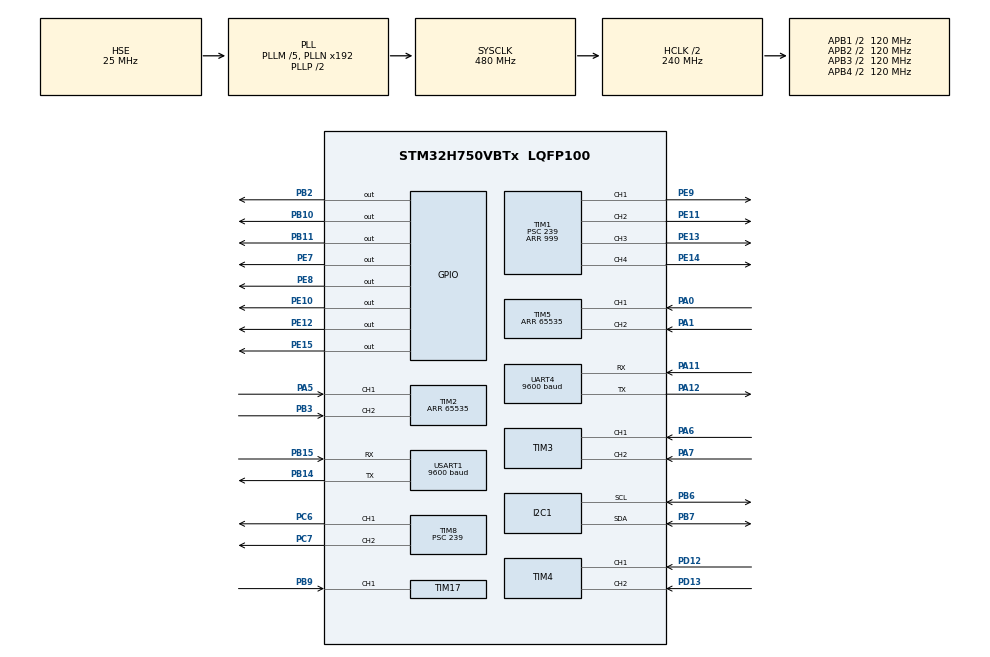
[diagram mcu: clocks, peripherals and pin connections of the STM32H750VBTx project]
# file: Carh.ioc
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CORTEX_M7.default_mode_Activation=1
FREERTOS.Tasks01=defaultTask,0,256,StartDefaultTask,Default,NULL,Dynamic,NULL,NULL;Motor,3,512,MotorFunc,Default,NULL,Dynamic,NULL,NULL;MainTask,2,512,MainFunc,Default,NULL,Dynamic,NULL,NULL
I2C1.Timing=0x307075B1
Mcu.Family=STM32H7
Mcu.Name=STM32H750VBTx
Mcu.Package=LQFP100
NVIC.PriorityGroup=NVIC_PRIORITYGROUP_4
NVIC.TIM17_IRQn=true\:6\:0\:true\:false\:true\:true\:true\:true\:true
NVIC.TIM7_IRQn=true\:15\:0\:false\:false\:true\:false\:false\:true\:true
NVIC.TimeBase=TIM7_IRQn
NVIC.TimeBaseIP=TIM7
NVIC.UART4_IRQn=true\:5\:0\:false\:false\:true\:true\:true\:true\:true
NVIC.USART1_IRQn=true\:5\:0\:false\:false\:true\:true\:true\:true\:true
PA0.Signal=S_TIM5_CH1
PA1.Signal=S_TIM5_CH2
PA11.Mode=Asynchronous
PA11.Signal=UART4_RX
PA12.Mode=Asynchronous
PA12.Signal=UART4_TX
PA5.Signal=S_TIM2_CH1_ETR
PA6.Signal=S_TIM3_CH1
PA7.Signal=S_TIM3_CH2
PB10.Signal=GPIO_Output
PB11.Signal=GPIO_Output
PB14.Mode=Asynchronous
PB14.Signal=USART1_TX
PB15.Mode=Asynchronous
PB15.Signal=USART1_RX
PB2.Signal=GPIO_Output
PB3\ (JTDO/TRACESWO).Signal=S_TIM2_CH2
PB6.Mode=I2C
PB6.Signal=I2C1_SCL
PB7.Mode=I2C
PB7.Signal=I2C1_SDA
PB9.Signal=S_TIM17_CH1
PC14-OSC32_IN\ (OSC32_IN).Mode=LSE-External-Oscillator
PC14-OSC32_IN\ (OSC32_IN).Signal=RCC_OSC32_IN
PC15-OSC32_OUT\ (OSC32_OUT).Mode=LSE-External-Oscillator
PC15-OSC32_OUT\ (OSC32_OUT).Signal=RCC_OSC32_OUT
PC6.Signal=S_TIM8_CH1
PC7.Signal=S_TIM8_CH2
PD12.Signal=S_TIM4_CH1
PD13.Signal=S_TIM4_CH2
PE10.Signal=GPIO_Output
PE11.Signal=S_TIM1_CH2
PE12.Signal=GPIO_Output
PE13.Signal=S_TIM1_CH3
PE14.Signal=S_TIM1_CH4
PE15.Signal=GPIO_Output
PE7.Signal=GPIO_Output
PE8.Signal=GPIO_Output
PE9.Signal=S_TIM1_CH1
PH0-OSC_IN\ (PH0).Mode=HSE-External-Oscillator
PH0-OSC_IN\ (PH0).Signal=RCC_OSC_IN
PH1-OSC_OUT\ (PH1).Mode=HSE-External-Oscillator
PH1-OSC_OUT\ (PH1).Signal=RCC_OSC_OUT
ProjectManager.HeapSize=0x200
ProjectManager.StackSize=0x400
ProjectManager.TargetToolchain=MDK-ARM V5.32
RCC.ADCFreq_Value=50390625
RCC.APB1Freq_Value=120000000
RCC.APB2Freq_Value=120000000
RCC.APB3Freq_Value=120000000
RCC.APB4Freq_Value=120000000
RCC.CortexFreq_Value=480000000
RCC.D1PPRE=RCC_APB3_DIV2
RCC.D2PPRE1=RCC_APB1_DIV2
RCC.D2PPRE2=RCC_APB2_DIV2
RCC.D3PPRE=RCC_APB4_DIV2
RCC.DIVM1=5
RCC.DIVN1=192
RCC.HCLKFreq_Value=240000000
RCC.HPRE=RCC_HCLK_DIV2
RCC.PLL2FRACN=0
RCC.PLL3FRACN=0
RCC.PLLFRACN=0
RCC.PLLSourceVirtual=RCC_PLLSOURCE_HSE
RCC.SYSCLKFreq_VALUE=480000000
RCC.SYSCLKSource=RCC_SYSCLKSOURCE_PLLCLK
RCC.USBFreq_Value=480000000
SH.S_TIM17_CH1.0=TIM17_CH1,Input_Capture1_from_TI1
SH.S_TIM1_CH1.0=TIM1_CH1,PWM Generation1 CH1
SH.S_TIM1_CH2.0=TIM1_CH2,PWM Generation2 CH2
SH.S_TIM1_CH3.0=TIM1_CH3,PWM Generation3 CH3
SH.S_TIM1_CH4.0=TIM1_CH4,PWM Generation4 CH4
SH.S_TIM2_CH1_ETR.0=TIM2_CH1,Encoder_Interface
SH.S_TIM2_CH2.0=TIM2_CH2,Encoder_Interface
SH.S_TIM3_CH1.0=TIM3_CH1,Encoder_Interface
SH.S_TIM3_CH2.0=TIM3_CH2,Encoder_Interface
SH.S_TIM4_CH1.0=TIM4_CH1,Encoder_Interface
SH.S_TIM4_CH2.0=TIM4_CH2,Encoder_Interface
SH.S_TIM5_CH1.0=TIM5_CH1,Encoder_Interface
SH.S_TIM5_CH2.0=TIM5_CH2,Encoder_Interface
SH.S_TIM8_CH1.0=TIM8_CH1,PWM Generation1 CH1
SH.S_TIM8_CH2.0=TIM8_CH2,PWM Generation2 CH2
TIM1.Channel-PWM\ Generation1\ CH1=TIM_CHANNEL_1
TIM1.Channel-PWM\ Generation2\ CH2=TIM_CHANNEL_2
TIM1.Channel-PWM\ Generation3\ CH3=TIM_CHANNEL_3
TIM1.Channel-PWM\ Generation4\ CH4=TIM_CHANNEL_4
TIM1.Period=999
TIM1.Prescaler=239
TIM17.Channel=TIM_CHANNEL_1
TIM17.ICPolarity_CH1=TIM_INPUTCHANNELPOLARITY_BOTHEDGE
TIM17.Period=9999
TIM17.Prescaler=239
TIM2.EncoderMode=TIM_ENCODERMODE_TI12
TIM2.Period=65535
TIM3.EncoderMode=TIM_ENCODERMODE_TI12
TIM4.EncoderMode=TIM_ENCODERMODE_TI12
TIM5.EncoderMode=TIM_ENCODERMODE_TI12
TIM5.Period=65535
TIM8.Channel-PWM\ Generation1\ CH1=TIM_CHANNEL_1
TIM8.Channel-PWM\ Generation2\ CH2=TIM_CHANNEL_2
TIM8.Period=999
TIM8.Prescaler=239
UART4.BaudRate=9600
USART1.BaudRate=9600
USART1.VirtualMode-Asynchronous=VM_ASYNC
VP_FREERTOS_VS_CMSIS_V1.Mode=CMSIS_V1
VP_MEMORYMAP_VS_MEMORYMAP.Mode=CurAppReg
VP_SYS_VS_tim7.Mode=TIM7
VP_TIM17_VS_ClockSourceINT.Mode=Enable_Timer
board=custom

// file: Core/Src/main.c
/* USER CODE BEGIN Header */
/**
  ******************************************************************************
  * @file           : main.c
  * @brief          : Main program body
  ******************************************************************************
  * @attention
  *
  * Copyright (c) 2025 STMicroelectronics.
  * All rights reserved.
  *
  * This software is licensed under terms that can be found in the LICENSE file
  * in the root directory of this software component.
  * If no LICENSE file comes with this software, it is provided AS-IS.
  *
  ******************************************************************************
  */
/* USER CODE END Header */
#include "main.h"
#include "cmsis_os.h"
#include "i2c.h"
#include "memorymap.h"
#include "tim.h"
#include "usart.h"
#include "gpio.h"

void SystemClock_Config(void);
static void MPU_Config(void);
void MX_FREERTOS_Init(void);

int main(void)
{

  /* MPU Configuration--------------------------------------------------------*/
  MPU_Config();

  /* MCU Configuration--------------------------------------------------------*/

  /* Reset of all peripherals, Initializes the Flash interface and the Systick. */
  HAL_Init();

  /* Configure the system clock */
  SystemClock_Config();

  /* Initialize all configured peripherals */
  MX_GPIO_Init();
  MX_USART1_UART_Init();
  MX_TIM1_Init();
  MX_TIM2_Init();
  MX_TIM3_Init();
  MX_TIM4_Init();
  MX_TIM5_Init();
  MX_TIM8_Init();
  MX_I2C1_Init();
  MX_TIM17_Init();
  MX_UART4_Init();

  /* Call init function for freertos objects (in cmsis_os2.c) */
  MX_FREERTOS_Init();

  /* Start scheduler */
  osKernelStart();

  /* We should never get here as control is now taken by the scheduler */

  /* Infinite loop */
  while (1)
  {

  }
}

void SystemClock_Config(void)
{
  RCC_OscInitTypeDef RCC_OscInitStruct = {0};
  RCC_ClkInitTypeDef RCC_ClkInitStruct = {0};

  /** Supply configuration update enable
  */
  HAL_PWREx_ConfigSupply(PWR_LDO_SUPPLY);

  /** Configure the main internal regulator output voltage
  */
  __HAL_PWR_VOLTAGESCALING_CONFIG(PWR_REGULATOR_VOLTAGE_SCALE1);

  while(!__HAL_PWR_GET_FLAG(PWR_FLAG_VOSRDY)) {}

  __HAL_RCC_SYSCFG_CLK_ENABLE();
  __HAL_PWR_VOLTAGESCALING_CONFIG(PWR_REGULATOR_VOLTAGE_SCALE0);

  while(!__HAL_PWR_GET_FLAG(PWR_FLAG_VOSRDY)) {}

  /** Initializes the RCC Oscillators according to the specified parameters
  * in the RCC_OscInitTypeDef structure.
  */
  RCC_OscInitStruct.OscillatorType = RCC_OSCILLATORTYPE_HSE;
  RCC_OscInitStruct.HSEState = RCC_HSE_ON;
  RCC_OscInitStruct.PLL.PLLState = RCC_PLL_ON;
  RCC_OscInitStruct.PLL.PLLSource = RCC_PLLSOURCE_HSE;
  RCC_OscInitStruct.PLL.PLLM = 5;
  RCC_OscInitStruct.PLL.PLLN = 192;
  RCC_OscInitStruct.PLL.PLLP = 2;
  RCC_OscInitStruct.PLL.PLLQ = 2;
  RCC_OscInitStruct.PLL.PLLR = 2;
  RCC_OscInitStruct.PLL.PLLRGE = RCC_PLL1VCIRANGE_2;
  RCC_OscInitStruct.PLL.PLLVCOSEL = RCC_PLL1VCOWIDE;
  RCC_OscInitStruct.PLL.PLLFRACN = 0;
  if (HAL_RCC_OscConfig(&RCC_OscInitStruct) != HAL_OK)
  {
    Error_Handler();
  }

  /** Initializes the CPU, AHB and APB buses clocks
  */
  RCC_ClkInitStruct.ClockType = RCC_CLOCKTYPE_HCLK|RCC_CLOCKTYPE_SYSCLK
                              |RCC_CLOCKTYPE_PCLK1|RCC_CLOCKTYPE_PCLK2
                              |RCC_CLOCKTYPE_D3PCLK1|RCC_CLOCKTYPE_D1PCLK1;
  RCC_ClkInitStruct.SYSCLKSource = RCC_SYSCLKSOURCE_PLLCLK;
  RCC_ClkInitStruct.SYSCLKDivider = RCC_SYSCLK_DIV1;
  RCC_ClkInitStruct.AHBCLKDivider = RCC_HCLK_DIV2;
  RCC_ClkInitStruct.APB3CLKDivider = RCC_APB3_DIV2;
  RCC_ClkInitStruct.APB1CLKDivider = RCC_APB1_DIV2;
  RCC_ClkInitStruct.APB2CLKDivider = RCC_APB2_DIV2;
  RCC_ClkInitStruct.APB4CLKDivider = RCC_APB4_DIV2;

  if (HAL_RCC_ClockConfig(&RCC_ClkInitStruct, FLASH_LATENCY_4) != HAL_OK)
  {
    Error_Handler();
  }
}

 /* MPU Configuration */

void MPU_Config(void)
{
  MPU_Region_InitTypeDef MPU_InitStruct = {0};

  /* Disables the MPU */
  HAL_MPU_Disable();

  /** Initializes and configures the Region and the memory to be protected
  */
  MPU_InitStruct.Enable = MPU_REGION_ENABLE;
  MPU_InitStruct.Number = MPU_REGION_NUMBER0;
  MPU_InitStruct.BaseAddress = 0x0;
  MPU_InitStruct.Size = MPU_REGION_SIZE_4GB;
  MPU_InitStruct.SubRegionDisable = 0x87;
  MPU_InitStruct.TypeExtField = MPU_TEX_LEVEL0;
  MPU_InitStruct.AccessPermission = MPU_REGION_NO_ACCESS;
  MPU_InitStruct.DisableExec = MPU_INSTRUCTION_ACCESS_DISABLE;
  MPU_InitStruct.IsShareable = MPU_ACCESS_SHAREABLE;
  MPU_InitStruct.IsCacheable = MPU_ACCESS_NOT_CACHEABLE;
  MPU_InitStruct.IsBufferable = MPU_ACCESS_NOT_BUFFERABLE;

  HAL_MPU_ConfigRegion(&MPU_InitStruct);
  /* Enables the MPU */
  HAL_MPU_Enable(MPU_PRIVILEGED_DEFAULT);

}

void HAL_TIM_PeriodElapsedCallback(TIM_HandleTypeDef *htim)
{
  if (htim->Instance == TIM7) {
    HAL_IncTick();
  }
}

void Error_Handler(void)
{
  __disable_irq();
  while (1)
  {
  }
}

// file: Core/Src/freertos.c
/* USER CODE BEGIN Header */
/**
  ******************************************************************************
  * File Name          : freertos.c
  * Description        : Code for freertos applications
  ******************************************************************************
  * @attention
  *
  * Copyright (c) 2025 STMicroelectronics.
  * All rights reserved.
  *
  * This software is licensed under terms that can be found in the LICENSE file
  * in the root directory of this software component.
  * If no LICENSE file comes with this software, it is provided AS-IS.
  *
  ******************************************************************************
  */
/* USER CODE END Header */

#include "FreeRTOS.h"
#include "task.h"
#include "main.h"
#include "cmsis_os.h"

/* USER CODE BEGIN Includes */
#include "tim.h"
#include "Macnuam.h"
#include "math.h"
#include "usart.h"
#include "oled.h"
#include <stdint.h>
#include <string.h>
/* USER CODE END Includes */

/* USER CODE BEGIN PTD */
typedef enum {
	Forward,
	Back,
	Right,
	Left,
	Rrotate,
	Lrotate,
	Stop,
}Status;

typedef enum {
	Fast,
	Normal,
	Low
}SpeedSet;
/* USER CODE END PTD */

/* USER CODE BEGIN PM */
extern UART_HandleTypeDef huart1;
extern UART_HandleTypeDef huart2;
extern DMA_HandleTypeDef hdma_usart1_rx;
/* USER CODE END PM */

/* USER CODE BEGIN Variables */
Speed myspeed;
int vx,vy,vz;

Motor RB;
Motor RF;
Motor LB;
Motor LF;

int timecount;
int starttime;

int8_t receivedata[8];

int times[27] = {         2000,   390,       200 ,    450 ,   600,    420,    120,    320,     120,    846,    6       , 100,   468,     500,    66,       200,     1080,    1000   ,280      ,700,      800 ,  900 ,  1000,   900  ,  1000,900  ,  10000};
Status states[27] = {     Stop,   Forward,   Stop,    Right,  Stop,   Right,  Stop,   Forward, Stop,   Left,   Rrotate ,Stop,  Forward, Stop,   Back,     Stop,     Right,  Stop   ,Forward  ,Rrotate,  Stop , Left,  Stop,   Left  , Stop,Left  , Stop} ;
SpeedSet speedsets[27] = {Normal, Normal,    Normal,  Normal, Normal, Normal, Normal, Fast,    Normal, Normal, Normal  ,Normal,Fast,    Normal, Normal,   Normal,   Normal, Normal ,Low      ,Normal,   Normal,Normal,Normal, Normal, Normal,Normal, Normal};

int phase = -1;
Status state = Stop;
SpeedSet speedset = Normal;

int distance;
uint32_t capture_rising, capture_falling;

/* USER CODE END Variables */
osThreadId defaultTaskHandle;
osThreadId MotorHandle;
osThreadId MainTaskHandle;

/* USER CODE BEGIN FunctionPrototypes */
float GetDistance(void);
/* USER CODE END FunctionPrototypes */

void StartDefaultTask(void const * argument);
void MotorFunc(void const * argument);
void MainFunc(void const * argument);

void MX_FREERTOS_Init(void); /* (MISRA C 2004 rule 8.1) */

/* GetIdleTaskMemory prototype (linked to static allocation support) */
void vApplicationGetIdleTaskMemory( StaticTask_t **ppxIdleTaskTCBBuffer, StackType_t **ppxIdleTaskStackBuffer, uint32_t *pulIdleTaskStackSize );

/* USER CODE BEGIN GET_IDLE_TASK_MEMORY */
static StaticTask_t xIdleTaskTCBBuffer;
static StackType_t xIdleStack[configMINIMAL_STACK_SIZE];

void vApplicationGetIdleTaskMemory( StaticTask_t **ppxIdleTaskTCBBuffer, StackType_t **ppxIdleTaskStackBuffer, uint32_t *pulIdleTaskStackSize )
{
  *ppxIdleTaskTCBBuffer = &xIdleTaskTCBBuffer;
  *ppxIdleTaskStackBuffer = &xIdleStack[0];
  *pulIdleTaskStackSize = configMINIMAL_STACK_SIZE;
  /* place for user code */
}
/* USER CODE END GET_IDLE_TASK_MEMORY */

void MX_FREERTOS_Init(void) {

  /* Create the thread(s) */
  /* definition and creation of defaultTask */
  osThreadDef(defaultTask, StartDefaultTask, osPriorityNormal, 0, 256);
  defaultTaskHandle = osThreadCreate(osThread(defaultTask), NULL);

  /* definition and creation of Motor */
  osThreadDef(Motor, MotorFunc, osPriorityRealtime, 0, 512);
  MotorHandle = osThreadCreate(osThread(Motor), NULL);

  /* definition and creation of MainTask */
  osThreadDef(MainTask, MainFunc, osPriorityHigh, 0, 512);
  MainTaskHandle = osThreadCreate(osThread(MainTask), NULL);

}

void StartDefaultTask(void const * argument)
{
  /* USER CODE BEGIN StartDefaultTask */
	HAL_TIM_IC_Start_IT(&htim17, TIM_CHANNEL_1);
  /* Infinite loop */
  for(;;)
  {
		osSignalWait(0x01, osWaitForever);
    uint32_t time_diff = (capture_falling - capture_rising + 10000) % 10000;
    distance = (float)time_diff * 0.034 / 2;
		OLED_ShowNum(80,2,distance,3,16);
		OLED_ShowNum(16,2,abs(myspeed.RB) * 50 * 2 * 3.14 * 0.03 / 30.0f / 52.0f, 3, 16);
		OLED_ShowNum(16,4,receivedata[0],3,16);
		OLED_ShowNum(80,4,receivedata[1],3,16);
    osDelay(20);
  }
  /* USER CODE END StartDefaultTask */
}

void MotorFunc(void const * argument)
{
  /* USER CODE BEGIN MotorFunc */
	HAL_TIM_Encoder_Start(&htim2,TIM_CHANNEL_1);
	HAL_TIM_Encoder_Start(&htim2,TIM_CHANNEL_2);
	HAL_TIM_Encoder_Start(&htim3,TIM_CHANNEL_1);
	HAL_TIM_Encoder_Start(&htim3,TIM_CHANNEL_2);
	HAL_TIM_Encoder_Start(&htim4,TIM_CHANNEL_1);
	HAL_TIM_Encoder_Start(&htim4,TIM_CHANNEL_2);
	HAL_TIM_Encoder_Start(&htim5,TIM_CHANNEL_1);
	HAL_TIM_Encoder_Start(&htim5,TIM_CHANNEL_2);

	RB.encoder = htim2;
	RF.encoder = htim3;
	LB.encoder = htim4;
	LF.encoder = htim5;

	RB.PWM = htim1;
	RF.PWM = htim1;
	LB.PWM = htim1;
	LF.PWM = htim1;

	RB.PWMchannel = TIM_CHANNEL_1;
	RF.PWMchannel = TIM_CHANNEL_2;
	LB.PWMchannel = TIM_CHANNEL_3;
	LF.PWMchannel = TIM_CHANNEL_4;

	RB.ENG1 = GPIOB;
	RB.ENP1 = GPIO_PIN_2;
	RB.ENG2 = GPIOE;
	RB.ENP2 = GPIO_PIN_7;

	RF.ENG1 = GPIOE;
	RF.ENP1 = GPIO_PIN_8;
	RF.ENG2 = GPIOE;
	RF.ENP2 = GPIO_PIN_10;

	LB.ENG1 = GPIOB;
	LB.ENP1 = GPIO_PIN_10;
	LB.ENG2 = GPIOB;
	LB.ENP2 = GPIO_PIN_11;

	LF.ENG1 = GPIOE;
	LF.ENP1 = GPIO_PIN_15;
	LF.ENG2 = GPIOE;
	LF.ENP2 = GPIO_PIN_12;

	HAL_TIM_PWM_Start(&htim1,TIM_CHANNEL_1);
	HAL_TIM_PWM_Start(&htim1,TIM_CHANNEL_2);
	HAL_TIM_PWM_Start(&htim1,TIM_CHANNEL_3);
	HAL_TIM_PWM_Start(&htim1,TIM_CHANNEL_4);

	HAL_TIM_PWM_Start(&htim8,TIM_CHANNEL_1);
	__HAL_TIM_SetCompare(&htim8,TIM_CHANNEL_1,0);
	HAL_TIM_PWM_Start(&htim8,TIM_CHANNEL_2);
	__HAL_TIM_SetCompare(&htim8,TIM_CHANNEL_2,50);

		HAL_UART_Receive_IT(&huart1, (uint8_t *)receivedata, 2);

  /* Infinite loop */
  for(;;)
  {
//		if(receivedata[0] == 0x00)
//		{
//			Calculate(myspeed.RB, &RB, 1);
//		  Calculate(myspeed.RF, &RF, 1);
//		  Calculate(myspeed.LB, &LB, 1);
//		  Calculate(myspeed.LF, &LF, 1);
//		}
//		else if (receivedata[0] == 0x01 || receivedata[0] == 0x11)
//		{
//			float vyset = (float)receivedata[2] * (float)0x0B/0xff;
//			float vzset = (float)receivedata[1] * (float)0x0D/90;
//			if(receivedata[1] <30 && receivedata[1] >-30)
//			{
//				Macnuam(0x05, (int)vyset, (int)vzset, &myspeed);
//			}
//			else
//			{
//				if(receivedata[1] >=30)
//				  Macnuam(0x03, (int)vyset, 0x04, &myspeed);
//				else
//					Macnuam(0x03, (int)vyset, -0x04, &myspeed);
//			}

//			Calculate(myspeed.RB, &RB, 0);
//		  Calculate(myspeed.RF, &RF, 0);
//		  Calculate(myspeed.LB, &LB, 0);
//		  Calculate(myspeed.LF, &LF, 0);
//		}
//		else if(receivedata[0] == 0x02)
//		{
//			float vyset = receivedata[2] * (float)0x06/0xff;
//			float vzset = receivedata[1] * (float)0x06/0xff;
//			Macnuam(-0x02, (int)vyset, (int)vzset, &myspeed);
//			Calculate(myspeed.RB, &RB, 0);
//		  Calculate(myspeed.RF, &RF, 0);
//		  Calculate(myspeed.LB, &LB, 0);
//		  Calculate(myspeed.LF, &LF, 0);
//		}
//		else
//		{
//			Calculate(myspeed.RB, &RB, 1);
//		  Calculate(myspeed.RF, &RF, 1);
//		  Calculate(myspeed.LB, &LB, 1);
//		  Calculate(myspeed.LF, &LF, 1);
//		}
		if(state == Stop )
		{
			Macnuam(0, 0, 0, &myspeed);
			Calculate(myspeed.RB, &RB, 1);
			Calculate(myspeed.RF, &RF, 1);
			Calculate(myspeed.LB, &LB, 1);
			Calculate(myspeed.LF, &LF, 1);
		}
		else if(state == Forward)
		{
			if(speedset == Normal)
			{
				Macnuam(0x0A, 0, 0, &myspeed);
			}
			else if(speedset == Fast)
			{
				Macnuam(0x0F, 0, 0, &myspeed);
			}
			else
			{
				Macnuam(0x03, 0, 0, &myspeed);
			}
				Calculate(myspeed.RB, &RB, 0);
				Calculate(myspeed.RF, &RF, 0);
				Calculate(myspeed.LB, &LB, 0);
				Calculate(myspeed.LF, &LF, 0);
		}
		else if(state == Back)
		{
			if(speedset == Normal)
			{
				Macnuam(-0x07, 0, 0, &myspeed);
			}
			else if(speedset == Fast)
			{
				Macnuam(-0x0B, 0, 0, &myspeed);
			}
			else
			{
				Macnuam(-0x05, 0, 0, &myspeed);
			}
				Calculate(myspeed.RB, &RB, 0);
				Calculate(myspeed.RF, &RF, 0);
				Calculate(myspeed.LB, &LB, 0);
				Calculate(myspeed.LF, &LF, 0);
		}
		else if(state == Right)
		{
			if(speedset == Normal)
			{
				Macnuam(0, 0X06, 0, &myspeed);
			}
			else if(speedset == Fast)
			{
				Macnuam(0, 0X0D, 0, &myspeed);
			}
			else
			{
				Macnuam(0, 0X03, 0, &myspeed);
			}
				Calculate(myspeed.RB, &RB, 0);
				Calculate(myspeed.RF, &RF, 0);
				Calculate(myspeed.LB, &LB, 0);
				Calculate(myspeed.LF, &LF, 0);
		}
		else if(state == Left)
		{
			if(speedset == Normal)
			{
				Macnuam(0, -0X06, 0, &myspeed);
			}
			else if(speedset == Fast)
			{
				Macnuam(0, -0X0D, 0, &myspeed);
			}
			else
			{
				Macnuam(0, -0X03, 0, &myspeed);
			}
				Calculate(myspeed.RB, &RB, 0);
				Calculate(myspeed.RF, &RF, 0);
				Calculate(myspeed.LB, &LB, 0);
				Calculate(myspeed.LF, &LF, 0);
		}
		else if(state == Rrotate)
		{
			if(speedset == Normal)
			{
				Macnuam(0, 0, 0X07, &myspeed);
			}
			else if(speedset == Fast)
			{
				Macnuam(0, 0, 0X08, &myspeed);
			}
			else
			{
				Macnuam(0, 0, 0X04, &myspeed);
			}
				Calculate(myspeed.RB, &RB, 0);
				Calculate(myspeed.RF, &RF, 0);
				Calculate(myspeed.LB, &LB, 0);
				Calculate(myspeed.LF, &LF, 0);
		}
		else if(state == Lrotate)
		{
			if(speedset == Normal)
			{
				Macnuam(0, 0, -0X06, &myspeed);
			}
			else if(speedset == Fast)
			{
				Macnuam(0, 0, -0X08, &myspeed);
			}
			else
			{
				Macnuam(0, 0, -0X04, &myspeed);
			}
				Calculate(myspeed.RB, &RB, 0);
				Calculate(myspeed.RF, &RF, 0);
				Calculate(myspeed.LB, &LB, 0);
				Calculate(myspeed.LF, &LF, 0);
		}

	osDelay(2);
  }
  /* USER CODE END MotorFunc */
}

void MainFunc(void const * argument)
{
  /* USER CODE BEGIN MainFunc */

	OLED_Init();
	OLED_Clear();
	OLED_ShowCHinese(96,0,6);//?
	OLED_ShowCHinese(112,0,7);//?
	OLED_ShowCHinese(0,0,8);//I
	OLED_ShowCHinese(16,0,9);//R
	OLED_ShowCHinese(32,0,10);//O
	OLED_ShowCHinese(48,0,11);//B
	OLED_ShowCHinese(64,0,12);//O
	OLED_ShowCHinese(80,0,13);//T

	OLED_ShowChar(0,2,83,16);//SPEED
	OLED_ShowChar(0,4,77,16);//M NUM1
	OLED_ShowChar(64,2,68,16);//DISTANCE
	OLED_ShowChar(64,4,78,16);//N NUM2

	OLED_ShowChar(8,2,58,16);//:
	OLED_ShowChar(72,4,58,16);//:
	OLED_ShowChar(72,2,58,16);//:
	OLED_ShowChar(8,4,58,16);//:

  /* Infinite loop */
  for(;;)
  {

		timecount++;

		//start........
    if(starttime == 0)
	{
		phase = (phase+1)%27;
		starttime = times[phase];
		state = states[phase];
		speedset = speedsets[phase];
	}
	else
	{
		starttime--;
	}

	if(phase == 0 || phase == 4|| phase == 17)
	{
		if(starttime <= 600)
		{
			if((starttime / 100) % 2)
				__HAL_TIM_SetCompare(&htim8,TIM_CHANNEL_1,800);
			else
				__HAL_TIM_SetCompare(&htim8,TIM_CHANNEL_1,0);
		}
	}

    osDelay(2);
  }
  /* USER CODE END MainFunc */
}

/* USER CODE BEGIN Application */
void HAL_UART_RxCpltCallback(UART_HandleTypeDef *huart)
{
	UNUSED(huart);

	HAL_UART_Receive_IT(&huart1, (uint8_t *)receivedata, 2);

}

void HAL_TIM_IC_CaptureCallback(TIM_HandleTypeDef *htim)
{
	if(htim == &htim17)
	{
        if(HAL_GPIO_ReadPin(GPIOB, GPIO_PIN_9) == GPIO_PIN_SET)
        {
            capture_rising = HAL_TIM_ReadCapturedValue(htim, TIM_CHANNEL_1);
        }
        else
        {
            capture_falling = HAL_TIM_ReadCapturedValue(htim, TIM_CHANNEL_1);
            osSignalSet(defaultTaskHandle, 0x01);
        }
	}
}
/* USER CODE END Application */
